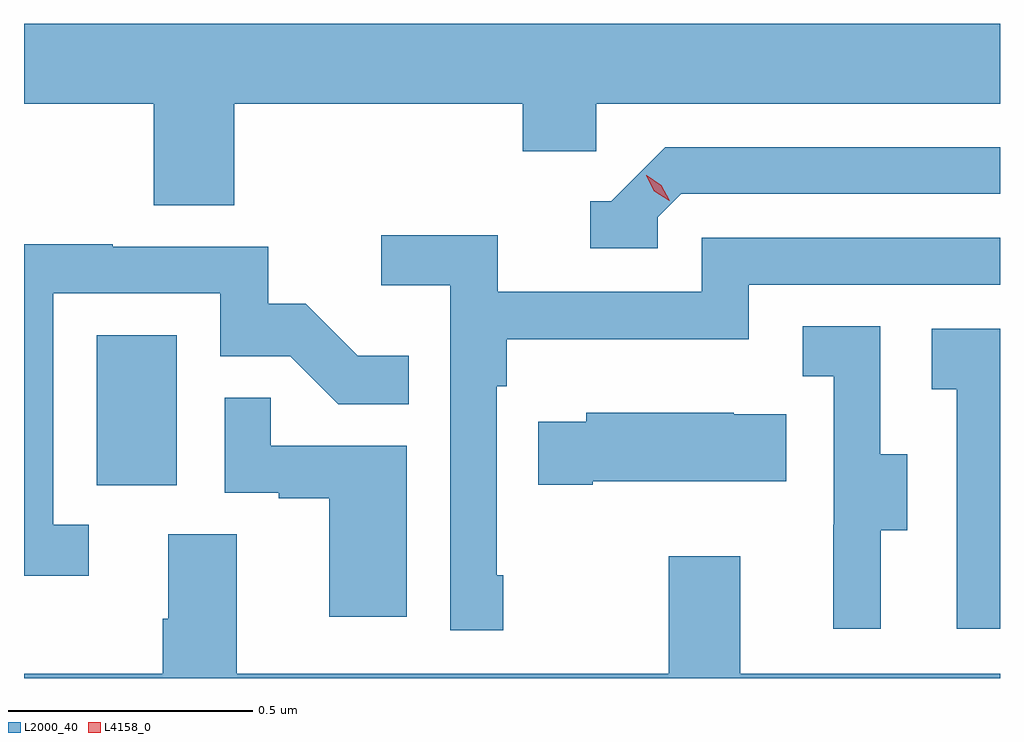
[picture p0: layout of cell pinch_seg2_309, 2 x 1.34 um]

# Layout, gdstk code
import gdstk
lib = gdstk.Library(unit=1e-6, precision=1e-09)
def R(c, l, rs):  # rectangles x0, y0, x1, y1
    for r in rs: c.add(gdstk.rectangle(r[:2], r[2:], *l))
def P(c, l, *ps):  # polygons
    for p in ps: c.add(gdstk.Polygon(p, *l))
L2000_40 = (2000, 40)
L4158_0 = (4158, 0)

pinch_seg2_309 = lib.new_cell('pinch_seg2_309')
R(pinch_seg2_309, L2000_40, [(901.916,630.87,902.08,631.177)])
P(pinch_seg2_309, L2000_40, [(902.198,631.652),(902.789,631.652),(902.789,631.554),(902.94,631.554),(902.94,631.652),(903.767,631.652),(903.767,631.816),(901.767,631.816),(901.767,631.652),(902.033,631.652),(902.033,631.444),(902.198,631.444)],
  [(903.066,631.419),(903.114,631.467),(903.767,631.467),(903.767,631.563),(903.081,631.563),(902.97,631.452),(902.927,631.452),(902.927,631.356),(903.066,631.356)],
  [(902.749,630.685),(902.736,630.685),(902.736,631.073),(902.756,631.073),(902.756,631.169),(903.252,631.169),(903.252,631.281),(903.767,631.281),(903.767,631.377),(903.156,631.377),(903.156,631.266),(902.738,631.266),(902.738,631.382),(902.499,631.382),(902.499,631.28),(902.64,631.28),(902.64,630.573),(902.749,630.573)],
  [(901.9,630.789),(901.827,630.789),(901.827,631.263),(902.169,631.263),(902.169,631.134),(902.313,631.134),(902.411,631.036),(902.555,631.036),(902.555,631.135),(902.451,631.135),(902.344,631.242),(902.268,631.242),(902.268,631.359),(901.949,631.359),(901.949,631.364),(901.767,631.364),(901.767,630.684),(901.9,630.684)],
  [(903.523,630.778),(903.577,630.778),(903.577,630.933),(903.522,630.933),(903.522,631.196),(903.363,631.196),(903.363,631.093),(903.426,631.093),(903.426,630.789),(903.425,630.789),(903.425,630.576),(903.523,630.576)],
  [(903.767,631.191),(903.627,631.191),(903.627,631.067),(903.678,631.067),(903.678,630.576),(903.767,630.576)],
  [(902.551,630.951),(902.273,630.951),(902.273,631.049),(902.178,631.049),(902.178,630.855),(902.289,630.855),(902.289,630.843),(902.393,630.843),(902.393,630.6),(902.551,630.6)],
  [(902.932,630.878),(903.329,630.878),(903.329,631.015),(903.221,631.015),(903.221,631.018),(902.919,631.018),(902.919,631),(902.821,631),(902.821,630.871),(902.932,630.871)],
  [(903.767,630.484),(903.235,630.484),(903.235,630.724),(903.088,630.724),(903.088,630.484),(902.203,630.484),(902.203,630.77),(902.063,630.77),(902.063,630.596),(902.051,630.596),(902.051,630.484),(901.767,630.484),(901.767,630.474),(903.767,630.474)])
P(pinch_seg2_309, L4158_0, [(903.089,631.453),(903.059,631.472),(903.042,631.504),(903.042,631.505),(903.043,631.505),(903.073,631.485),(903.09,631.453),(903.09,631.453)])

lib.write_gds('pinch_seg2_309.gds')
